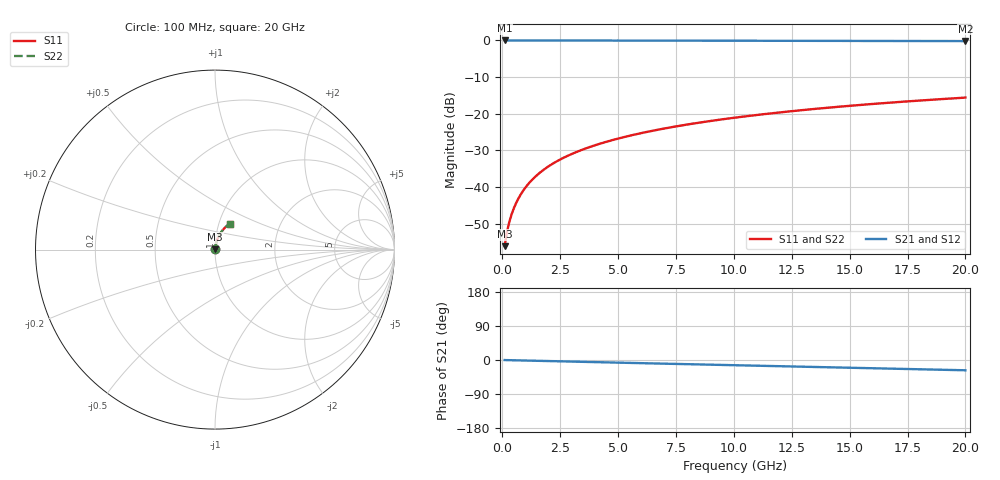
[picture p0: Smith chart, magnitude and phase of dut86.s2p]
! Touchstone file exported from HFSS 2026.1.0
!  File:  C:/ffzhzh/LocalFiles/Ansys_Project_Files/temp_train_TMRDL_86_1782881443_42304.aedt
!  Generated:  12:51:57 PM Jul  1, 2026
!  Design:  TMRDL
!  Project:  temp_train_TMRDL_86_1782881443_42304
! Variables:
!  h_bsmrdl = 2um
!  h_ox = 20um
!  h_rdl = 5um
!  h_sub = 80um
!  h_tmrdl = 5.93um
!  h_tsv = 80um
!  h_via = 3um
!  l_bsmrdl = 300um
!  l_sub = 828.68um
!  l_tmrdl = 428.68um
!  m_sub = 200um
!  pitch = 47.2um
!  r_tsv = 6um
!  s_tmrdl = 10um
!  w_bsmrdl = 18um
!  w_sub = 500um
!  w_tmrdl = 29.98um
!  x_tsv_center1 = 443.67um
!  x_tsv_center2 = 761.67um
!  x_tsv_center3 = 1220.33um
!  x_tsv_center4 = 1538.33um
!  x_tsv_center5 = 1996.99um
!  x_tsv_center6 = 2314.99um
# GHz S MA R 50.000000
! Terminal data exported
! Port[1] = TM_RDL1_1_T1
! Port[2] = TM_RDL1_1_T2
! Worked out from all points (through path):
!   200 points, 100 MHz to 20 GHz, reference 50 ohm
!   highest |S21| = -0.01 dB at 100 MHz (marker M1); lowest = -0.2 dB at 20 GHz (marker M2)
!   group delay of S21, straight-line fit = 3.76 ps
!   lowest |S11| = -56.2 dB at 100 MHz (marker M3), VSWR 1.00, Z = 50.1 + j0.113 ohm
!   |S11| at or under -10 dB: start of sweep to end of sweep
!   |S22| runs from -56.2 to -15.6 dB; largest |S21 - S12| = 4e-15
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0.1  0.001553 46.4  0.9989 -0.2  0.9989 -0.2  0.001553 46.4
! Gamma 0 0 0 0
! Port Impedance 50 0 50 0
0.2  0.002424 60.3  0.9988 -0.3  0.9988 -0.3  0.002424 60.3
0.3  0.003305 67.1  0.9987 -0.4  0.9987 -0.4  0.003305 67.1
0.4  0.004204 71.3  0.9987 -0.6  0.9987 -0.6  0.004204 71.3
0.5  0.005121 74.1  0.9986 -0.7  0.9986 -0.7  0.005121 74.1
0.6  0.006049 76.0  0.9986 -0.9  0.9986 -0.9  0.006049 76.0
0.8  0.007924 78.3  0.9985 -1.1  0.9985 -1.1  0.007924 78.3
1.1  0.01075 80.0  0.9984 -1.6  0.9984 -1.6  0.01075 80.0
1.3  0.01263 80.6  0.9983 -1.8  0.9983 -1.8  0.01263 80.6
1.5  0.0145 80.9  0.9981 -2.1  0.9981 -2.1  0.0145 80.9
1.8  0.01729 81.0  0.9979 -2.6  0.9979 -2.6  0.01729 81.0
2.1  0.02005 81.0  0.9977 -3.0  0.9977 -3.0  0.02005 81.0
2.7  0.02549 80.7  0.9972 -3.8  0.9972 -3.8  0.02549 80.7
3.5  0.03262 80.0  0.9966 -4.9  0.9966 -4.9  0.03262 80.0
4.2  0.03876 79.3  0.996 -5.9  0.996 -5.9  0.03876 79.3
5  0.04569 78.5  0.9953 -7.0  0.9953 -7.0  0.04569 78.5
6.8  0.06108 76.5  0.9938 -9.4  0.9938 -9.4  0.06108 76.5
8.3  0.07372 74.8  0.9925 -11.5  0.9925 -11.5  0.07372 74.8
10.1  0.08868 72.7  0.9908 -13.9  0.9908 -13.9  0.08867 72.7
13.4  0.1154 68.6  0.9872 -18.3  0.9872 -18.3  0.1154 68.6
16.7  0.1411 64.5  0.9832 -22.8  0.9832 -22.8  0.1411 64.5
20  0.1656 60.4  0.9788 -27.1  0.9788 -27.1  0.1656 60.4
